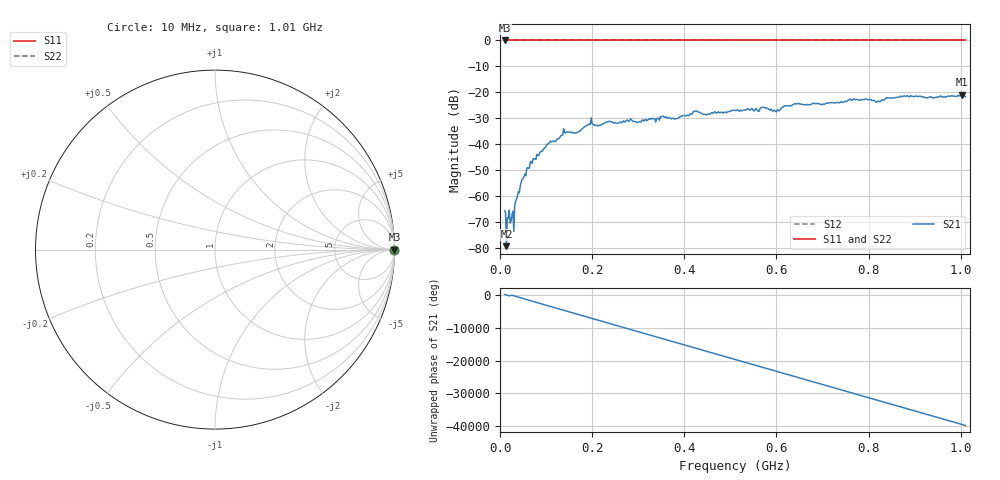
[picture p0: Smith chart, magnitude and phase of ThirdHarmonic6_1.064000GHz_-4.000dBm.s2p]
! 8/16/2025 9:33:45 AM
! C:\ANRITSUVNA\TEMP\TEMP.S2P
! CHANNEL.1
! TR.MEASUREMENT
! RAW.DATA
! RF.CORRECTION.OFF
! AVERAGING.OFF
! IF.BANDWIDTH: 5KHZ
! SWEEPTYPE:  FREQ.SWEEP(Linear)
! Reference Plane Port Info
! PORT:  PORT1  PORT2
! DISTANCE:  0  m  0  m
! TIME:  0  s  0  s
! PHASE.OFFSET:  0  deg.  0  deg.
! LOSS:  0  dB  0  dB
! REF.LOSS:  0  dB  0  dB
! REF.FREQ:  0  Hz  0  Hz
! Power Info
! POWER:  -20  dBm  -20  dBm
! EFF.POWER:  -20  dBm  -20  dBm
! SOURCE.ATTEN:  0  dB  0  dB
! TEST.ATTEN:  0  dB  0  dB
# GHZ S RI R 50.0
! FREQ.GHZ  S11RE  S11IM  S21RE  S21IM  S12RE  S12IM  S22RE  S22IM
!; PortSelection: Port_12
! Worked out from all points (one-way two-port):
!   501 points, 10 MHz to 1.01 GHz, reference 50 ohm
!   highest |S21| = -20.96 dB at 1.002 GHz (marker M1); lowest = -79.4 dB at 14 MHz (marker M2)
!   lowest |S11| = 0.0 dB at 10 MHz (marker M3)
!   |S11| at or under -10 dB: nowhere
!   |S22| runs from 0.0 to 0.0 dB; largest |S21 - S12| = 1.1
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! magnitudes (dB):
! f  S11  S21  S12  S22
! 10 MHz  0.0  -65.7  0.0  0.0
! 14 MHz  0.0  -79.4  0.0  0.0
! 18 MHz  0.0  -68.6  0.0  0.0
! 24 MHz  0.0  -69.7  0.0  0.0
! 26 MHz  0.0  -67.5  0.0  0.0
! 34 MHz  0.0  -62.0  0.0  0.0
! 36 MHz  0.0  -61.1  0.0  0.0
! 48 MHz  0.0  -53.5  0.0  0.0
! 70 MHz  0.0  -47.4  0.0  0.0
! 142 MHz  0.0  -35.7  0.0  0.0
! 178 MHz  0.0  -34.2  0.0  0.0
! 196 MHz  0.0  -32.3  0.0  0.0
! 344 MHz  0.0  -30.1  0.0  0.0
! 382 MHz  0.0  -30.1  0.0  0.0
! 424 MHz  0.0  -27.3  0.0  0.0
! 510 MHz  0.0  -27.0  0.0  0.0
! 602 MHz  0.0  -26.9  0.0  0.0
! 640 MHz  0.0  -24.3  0.0  0.0
! 678 MHz  0.0  -24.3  0.0  0.0
! 844 MHz  0.0  -22.2  0.0  0.0
! 1.002 GHz  0.0  -21.0  0.0  0.0
! 1.01 GHz  0.0  -21.6  0.0  0.0
